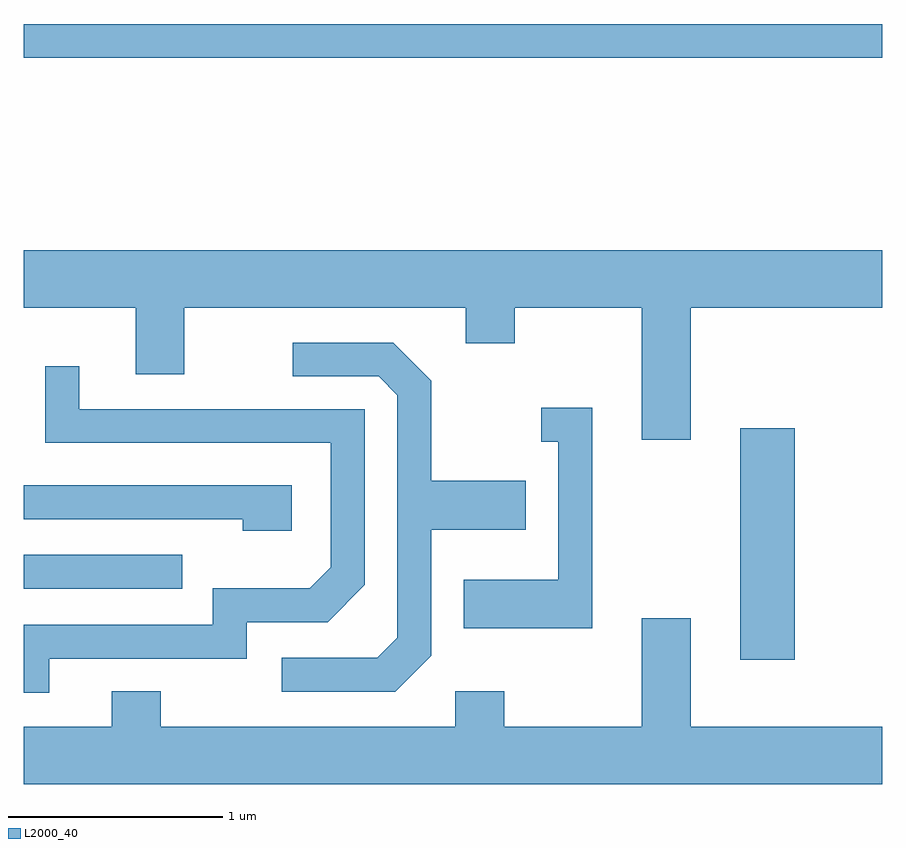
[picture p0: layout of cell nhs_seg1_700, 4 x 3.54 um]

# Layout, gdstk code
import gdstk
lib = gdstk.Library(unit=1e-6, precision=1e-09)
def R(c, l, rs):  # rectangles x0, y0, x1, y1
    for r in rs: c.add(gdstk.rectangle(r[:2], r[2:], *l))
def P(c, l, *ps):  # polygons
    for p in ps: c.add(gdstk.Polygon(p, *l))
L2000_40 = (2000, 40)

nhs_seg1_700 = lib.new_cell('nhs_seg1_700')
R(nhs_seg1_700, L2000_40, [(208.951,944.556,209.204,945.634), (205.611,944.886,206.348,945.044), (205.611,947.361,209.611,947.519)])
P(nhs_seg1_700, L2000_40, [(208.719,946.196),(209.611,946.196),(209.611,946.464),(205.611,946.464),(205.611,946.196),(206.131,946.196),(206.131,945.886),(206.359,945.886),(206.359,946.196),(207.671,946.196),(207.671,946.031),(207.899,946.031),(207.899,946.196),(208.491,946.196),(208.491,945.581),(208.719,945.581)],
  [(207.509,944.574),(207.509,945.161),(207.949,945.161),(207.949,945.389),(207.509,945.389),(207.509,945.857),(207.332,946.034),(206.863,946.034),(206.863,945.876),(207.264,945.876),(207.351,945.789),(207.351,944.657),(207.259,944.564),(206.813,944.564),(206.813,944.406),(207.342,944.406)],
  [(205.729,944.561),(206.649,944.561),(206.649,944.731),(207.027,944.731),(207.199,944.904),(207.199,945.724),(205.869,945.724),(205.869,945.923),(205.711,945.923),(205.711,945.566),(207.041,945.566),(207.041,944.987),(206.944,944.889),(206.491,944.889),(206.491,944.719),(205.611,944.719),(205.611,944.401),(205.729,944.401)],
  [(208.259,945.729),(208.023,945.729),(208.023,945.571),(208.101,945.571),(208.101,944.929),(207.661,944.929),(207.661,944.701),(208.259,944.701)],
  [(206.859,945.369),(205.611,945.369),(205.611,945.211),(206.631,945.211),(206.631,945.156),(206.859,945.156)],
  [(209.611,944.244),(208.719,944.244),(208.719,944.749),(208.491,944.749),(208.491,944.244),(207.849,944.244),(207.849,944.409),(207.621,944.409),(207.621,944.244),(206.249,944.244),(206.249,944.409),(206.021,944.409),(206.021,944.244),(205.611,944.244),(205.611,943.976),(209.611,943.976)])

lib.write_gds('nhs_seg1_700.gds')
